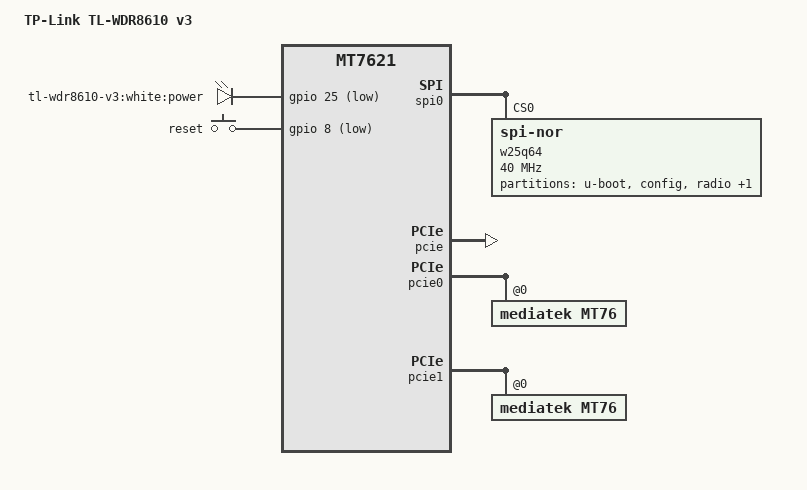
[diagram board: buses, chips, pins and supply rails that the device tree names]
// SPDX-License-Identifier: GPL-2.0-or-later OR MIT
/dts-v1/;

#include "mt7621.dtsi"

#include <dt-bindings/gpio/gpio.h>
#include <dt-bindings/input/input.h>

/ {
	compatible = "tplink,tl-wdr8610-v3", "mediatek,mt7621-soc";
	model = "TP-Link TL-WDR8610 v3";

	aliases {
		led-boot = &power;
		led-failsafe = &power;
		led-running = &power;
		led-upgrade = &power;
		label-mac-device = &wan;
	};

	leds {
		compatible = "gpio-leds";

		power: power {
			label = "tl-wdr8610-v3:white:power";
			gpios = <&gpio 25 GPIO_ACTIVE_LOW>;
		};
	};

	keys {
		compatible = "gpio-keys";

		reset {
			label = "reset";
			gpios = <&gpio 8 GPIO_ACTIVE_LOW>;
			linux,code = <KEY_RESTART>;
		};
	};
};

&spi0 {
	status = "okay";

	w25q64@0 {
		compatible = "jedec,spi-nor";
		reg = <0>;
		spi-max-frequency = <40000000>;

		partitions {
			compatible = "fixed-partitions";
			#address-cells = <1>;
			#size-cells = <1>;

			partition@0 {
				label = "u-boot";
				reg = <0x000000 0x01d000>;
				read-only;
			};

			config: partition@1d000 {
				label = "config";
				reg = <0x1d000 0x1000>;
				read-only;
			};

			radio: partition@1e000 {
				label = "radio";
				reg = <0x1e000 0x2000>;
				read-only;
			};

			firmware@20000 {
				label = "firmware";
				compatible = "tplink,firmware";
				reg = <0x020000 0x7c0000>;
			};
		};
	};
};

&pcie {
	status = "okay";
};

&pcie0 {
	mt76@0,0 {
		compatible = "mediatek,mt76";
		reg = <0x0000 0 0 0 0>;
		mediatek,mtd-eeprom = <&radio 0>;
		mtd-mac-address = <&config 0x080d>;
		mtd-mac-address-increment = <2>;
		ieee80211-freq-limit = <2400000 2500000>;
	};
};

&pcie1 {
	mt76@0,0 {
		compatible = "mediatek,mt76";
		reg = <0x0000 0 0 0 0>;
		mediatek,mtd-eeprom = <&radio 0x1000>;
		mtd-mac-address = <&config 0x080d>;
		mtd-mac-address-increment = <3>;
		ieee80211-freq-limit = <5000000 6000000>;
	};
};

&gmac0 {
	mtd-mac-address = <&config 0x080d>;
	mtd-mac-address-increment = <1>;
};

&switch0 {
	ports {
		wan: port@0 {
			status = "okay";
			label = "wan";
			mtd-mac-address = <&config 0x080d>;
		};
		port@1 {
			status = "okay";
			label = "lan4";
		};
		port@2 {
			status = "okay";
			label = "lan3";
		};
		port@3 {
			status = "okay";
			label = "lan2";
		};
		port@4 {
			status = "okay";
			label = "lan1";
		};
	};
};

&state_default {
	gpio {
		groups = "rgmii2", "uart3";
		function = "gpio";
	};
};
